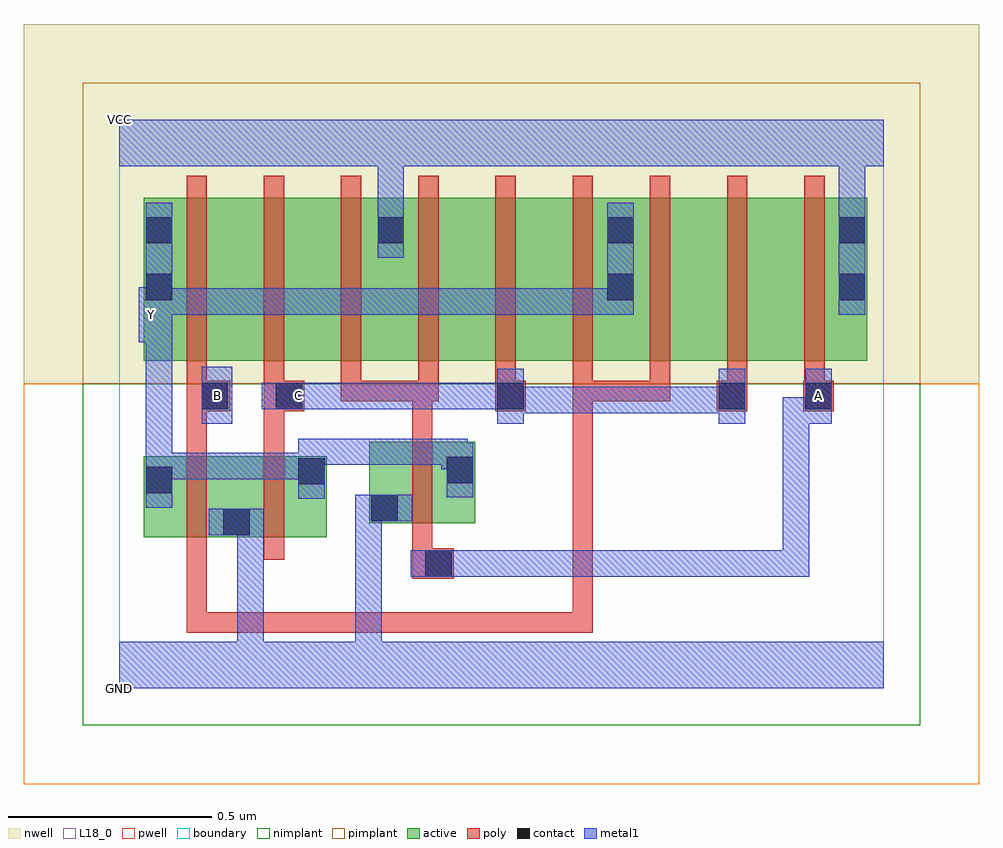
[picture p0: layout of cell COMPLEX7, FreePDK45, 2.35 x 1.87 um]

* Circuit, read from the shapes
.subckt COMPLEX7 A B C GND VCC Y
M1 GND B Y VSUBS nfet w=0.2u l=0.05u
M2 Y C GND VSUBS nfet w=0.2u l=0.05u
M3 Y A GND VSUBS nfet w=0.2u l=0.05u
M4 n1 B Y n2 pfet w=0.4u l=0.05u
M5 n3 C n1 n2 pfet w=0.4u l=0.05u
M6 VCC A n3 n2 pfet w=0.4u l=0.05u
M7 n4 A VCC n2 pfet w=0.4u l=0.05u
M8 n5 C n4 n2 pfet w=0.4u l=0.05u
M9 Y B n5 n2 pfet w=0.4u l=0.05u
M10 n6 B Y n2 pfet w=0.4u l=0.05u
M11 n7 C n6 n2 pfet w=0.4u l=0.05u
M12 VCC A n7 n2 pfet w=0.4u l=0.05u
.ends

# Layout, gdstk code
import gdstk
lib = gdstk.Library(unit=1e-6, precision=1e-09)
def R(c, l, rs):  # rectangles x0, y0, x1, y1
    for r in rs: c.add(gdstk.rectangle(r[:2], r[2:], *l))
def A(c, l, x, y, w, h, nx, ny, dx, dy):  # array of equal rectangles
    R(c, l, [(x+i*dx, y+j*dy, x+i*dx+w, y+j*dy+h) for i in range(nx) for j in range(ny)])
active = (1, 0)
pwell = (2, 0)
nwell = (3, 0)
nimplant = (4, 0)
pimplant = (5, 0)
poly = (9, 0)
contact = (10, 0)
metal1 = (11, 0)
L18_0 = (18, 0)
boundary = (235, 0)

complex7 = lib.new_cell('COMPLEX7')
A(complex7, active, 0.285, 0.807, 0.19, 0.4, 3, 1, 0.57, 0)
R(complex7, active, [(0.06,0.372,0.135,0.572), (0.06,0.372,0.325,0.572), (0.25,0.372,0.51,0.572), (0.25,0.372,0.325,0.447), (0.615,0.407,0.69,0.607), (0.615,0.407,0.875,0.607), (0.8,0.407,0.875,0.607), (0.435,0.495,0.51,0.572), (0.06,0.807,0.285,1.207), (0.06,0.807,0.165,1.2), (0.475,0.807,0.705,1.207), (0.63,0.807,0.705,1.205), (0.63,0.807,0.855,1.207), (1.045,0.807,1.27,1.207), (1.195,0.807,1.425,1.207), (1.195,0.807,1.27,1.2), (1.615,0.807,1.84,1.207), (1.765,0.807,1.84,1.205)])
R(complex7, pwell, [(-0.235,-0.235,2.115,0.75)])
R(complex7, nwell, [(-0.235,0.75,2.115,1.635)])
R(complex7, nimplant, [(-0.09,-0.09,1.97,0.75)])
R(complex7, pimplant, [(-0.09,0.75,1.97,1.49)])
A(complex7, poly, 0.165, 0.707, 0.05, 0.095, 9, 1, 0.19, 0)
A(complex7, poly, 0.165, 0.752, 0.05, 0.51, 9, 1, 0.19, 0)
R(complex7, poly, [(0.165,0.137,0.215,0.187), (0.165,0.137,0.215,0.187), (0.165,0.137,0.215,0.187), (0.165,0.137,0.455,0.187), (0.165,0.137,0.215,0.367), (0.405,0.137,0.455,0.187), (0.405,0.137,0.455,0.187), (0.405,0.137,0.455,0.187), (0.405,0.137,0.587,0.187), (0.537,0.137,0.587,0.187), (0.537,0.137,0.587,0.187), (0.537,0.137,0.587,0.187), (0.537,0.137,0.587,0.187), (0.537,0.137,0.587,0.187), (0.537,0.137,0.842,0.187), (0.792,0.137,0.842,0.187), (0.792,0.137,0.9,0.187), (0.85,0.137,0.9,0.187), (0.85,0.137,1.032,0.187), (0.982,0.137,1.032,0.187), (0.982,0.137,1.032,0.187), (0.982,0.137,1.032,0.187), (0.982,0.137,1.165,0.187), (1.115,0.137,1.165,0.187), (1.115,0.137,1.165,0.187), (1.115,0.137,1.165,0.187), (1.115,0.137,1.165,0.187), (1.115,0.137,1.165,0.187), (1.115,0.137,1.165,0.757), (0.72,0.27,0.822,0.345), (0.72,0.295,0.77,0.402), (0.165,0.317,0.215,0.627), (0.355,0.317,0.405,0.627), (0.72,0.352,0.77,0.662), (0.165,0.577,0.215,0.732), (0.355,0.577,0.405,0.732), (0.72,0.612,0.77,0.757), (0.165,0.682,0.272,0.757), (0.355,0.682,0.455,0.757), (0.925,0.682,1,0.757), (1.47,0.682,1.545,0.757), (1.682,0.682,1.757,0.757), (0.545,0.707,0.595,0.757), (0.545,0.707,0.767,0.757), (0.717,0.707,0.767,0.757), (0.717,0.707,0.767,0.757), (0.717,0.707,0.785,0.757), (1.115,0.707,1.355,0.757), (1.115,0.707,1.165,0.757), (1.115,0.707,1.165,0.757), (1.115,0.707,1.165,0.757), (1.115,0.707,1.165,0.757), (1.115,0.707,1.165,0.757), (1.305,0.707,1.355,0.757)])
A(complex7, contact, 0.385, 0.687, 0.065, 0.065, 3, 1, 0.545, 0)
R(complex7, contact, [(0.752,0.275,0.817,0.34), (0.255,0.377,0.32,0.442), (0.62,0.412,0.685,0.477), (0.065,0.48,0.13,0.545), (0.44,0.502,0.505,0.567), (0.805,0.505,0.87,0.57), (0.202,0.687,0.267,0.752), (1.687,0.687,1.752,0.752), (0.065,0.955,0.13,1.02), (1.2,0.955,1.265,1.02), (1.77,0.955,1.835,1.02), (0.065,1.095,0.13,1.16), (0.635,1.095,0.7,1.16), (1.2,1.095,1.265,1.16), (1.77,1.095,1.835,1.16)])
R(complex7, metal1, [(0,0,1.88,0.115), (0.29,0.05,0.355,0.115), (0.29,0.05,0.355,0.115), (0.29,0.05,0.355,0.442), (0.58,0.05,0.645,0.115), (0.58,0.05,0.645,0.115), (0.58,0.05,0.645,0.477), (0.717,0.275,0.852,0.34), (0.787,0.275,0.857,0.34), (0.792,0.275,0.857,0.34), (0.792,0.275,1.007,0.34), (0.942,0.275,1.007,0.34), (0.942,0.275,1.007,0.34), (0.942,0.275,1.007,0.34), (0.942,0.275,1.007,0.34), (0.942,0.275,1.007,0.34), (0.942,0.275,1.007,0.34), (0.942,0.275,1.007,0.34), (0.942,0.275,1.145,0.34), (1.08,0.275,1.145,0.34), (1.08,0.275,1.282,0.34), (1.217,0.275,1.282,0.34), (1.217,0.275,1.282,0.34), (1.217,0.275,1.282,0.34), (1.217,0.275,1.56,0.34), (1.495,0.275,1.56,0.34), (1.495,0.275,1.56,0.34), (1.495,0.275,1.56,0.34), (1.495,0.275,1.697,0.34), (1.632,0.275,1.697,0.717), (1.632,0.275,1.697,0.34), (0.22,0.377,0.355,0.442), (0.29,0.377,0.355,0.442), (0.29,0.377,0.355,0.442), (0.29,0.377,0.355,0.442), (0.29,0.377,0.355,0.442), (0.58,0.412,0.645,0.477), (0.58,0.412,0.645,0.477), (0.58,0.412,0.645,0.477), (0.58,0.412,0.645,0.477), (0.58,0.412,0.72,0.477), (0.065,0.445,0.13,0.58), (0.44,0.467,0.505,0.615), (0.805,0.47,0.87,0.605), (0.065,0.515,0.277,0.58), (0.065,0.515,0.13,0.917), (0.212,0.515,0.277,0.58), (0.212,0.515,0.277,0.58), (0.212,0.515,0.277,0.58), (0.212,0.515,0.505,0.58), (0.44,0.515,0.505,0.58), (0.44,0.515,0.505,0.58), (0.792,0.54,0.87,0.605), (0.792,0.54,0.857,0.615), (0.44,0.55,0.645,0.615), (0.58,0.55,0.645,0.615), (0.58,0.55,0.645,0.615), (0.58,0.55,0.645,0.615), (0.58,0.55,0.857,0.615), (0.202,0.652,0.277,0.792), (0.93,0.652,0.995,0.787), (1.475,0.652,1.54,0.787), (1.632,0.652,1.752,0.717), (1.632,0.652,1.697,0.717), (1.687,0.652,1.752,0.787), (0.93,0.677,0.995,0.742), (0.93,0.677,0.995,0.742), (0.93,0.677,1.145,0.742), (1.08,0.677,1.145,0.742), (1.08,0.677,1.402,0.742), (1.337,0.677,1.402,0.742), (1.337,0.677,1.402,0.742), (1.337,0.677,1.402,0.742), (1.337,0.677,1.54,0.742), (1.475,0.677,1.54,0.742), (1.475,0.677,1.54,0.742), (0.35,0.687,0.507,0.752), (0.442,0.687,0.507,0.752), (0.442,0.687,0.507,0.752), (0.442,0.687,0.645,0.752), (0.58,0.687,0.645,0.752), (0.58,0.687,0.645,0.752), (0.58,0.687,0.645,0.752), (0.58,0.687,0.782,0.752), (0.717,0.687,0.782,0.752), (0.717,0.687,0.782,0.752), (0.717,0.687,0.782,0.752), (0.717,0.687,0.995,0.752), (0.047,0.852,0.13,0.987), (0.065,0.92,0.13,1.195), (0.065,0.92,0.13,0.985), (0.065,0.92,0.277,0.985), (0.212,0.92,0.277,0.985), (0.212,0.92,0.277,0.985), (0.212,0.92,0.277,0.985), (0.212,0.92,0.507,0.985), (0.442,0.92,0.507,0.985), (0.442,0.92,0.507,0.985), (0.442,0.92,0.507,0.985), (0.442,0.92,0.645,0.985), (0.58,0.92,0.645,0.985), (0.58,0.92,0.645,0.985), (0.58,0.92,0.645,0.985), (0.58,0.92,0.857,0.985), (0.792,0.92,0.857,0.985), (0.792,0.92,0.857,0.985), (0.792,0.92,0.857,0.985), (0.792,0.92,0.995,0.985), (0.93,0.92,0.995,0.985), (0.93,0.92,0.995,0.985), (0.93,0.92,0.995,0.985), (0.93,0.92,1.145,0.985), (1.08,0.92,1.145,0.985), (1.08,0.92,1.265,0.985), (1.2,0.92,1.265,1.195), (1.77,0.92,1.835,1.195), (0.635,1.06,0.7,1.195), (0.635,1.13,0.7,1.35), (1.77,1.13,1.835,1.35), (0,1.285,1.88,1.4)])
R(complex7, L18_0, [(0,0,1.88,0.115), (0.29,0.05,0.355,0.115), (0.29,0.05,0.355,0.115), (0.29,0.05,0.355,0.442), (0.58,0.05,0.645,0.115), (0.58,0.05,0.645,0.115), (0.58,0.05,0.645,0.477), (0.717,0.275,0.852,0.34), (0.787,0.275,0.857,0.34), (0.792,0.275,0.857,0.34), (0.792,0.275,1.007,0.34), (0.942,0.275,1.007,0.34), (0.942,0.275,1.007,0.34), (0.942,0.275,1.007,0.34), (0.942,0.275,1.007,0.34), (0.942,0.275,1.007,0.34), (0.942,0.275,1.007,0.34), (0.942,0.275,1.007,0.34), (0.942,0.275,1.145,0.34), (1.08,0.275,1.145,0.34), (1.08,0.275,1.282,0.34), (1.217,0.275,1.282,0.34), (1.217,0.275,1.282,0.34), (1.217,0.275,1.282,0.34), (1.217,0.275,1.56,0.34), (1.495,0.275,1.56,0.34), (1.495,0.275,1.56,0.34), (1.495,0.275,1.56,0.34), (1.495,0.275,1.697,0.34), (1.632,0.275,1.697,0.34), (1.632,0.275,1.697,0.717), (0.22,0.377,0.355,0.442), (0.29,0.377,0.355,0.442), (0.29,0.377,0.355,0.442), (0.29,0.377,0.355,0.442), (0.29,0.377,0.355,0.442), (0.58,0.412,0.645,0.477), (0.58,0.412,0.645,0.477), (0.58,0.412,0.645,0.477), (0.58,0.412,0.645,0.477), (0.58,0.412,0.72,0.477), (0.065,0.445,0.13,0.58), (0.44,0.467,0.505,0.615), (0.805,0.47,0.87,0.605), (0.065,0.515,0.13,0.917), (0.065,0.515,0.277,0.58), (0.212,0.515,0.277,0.58), (0.212,0.515,0.277,0.58), (0.212,0.515,0.277,0.58), (0.212,0.515,0.505,0.58), (0.44,0.515,0.505,0.58), (0.44,0.515,0.505,0.58), (0.792,0.54,0.857,0.615), (0.792,0.54,0.87,0.605), (0.44,0.55,0.645,0.615), (0.58,0.55,0.645,0.615), (0.58,0.55,0.645,0.615), (0.58,0.55,0.645,0.615), (0.58,0.55,0.857,0.615), (0.202,0.652,0.277,0.792), (0.93,0.652,0.995,0.787), (1.475,0.652,1.54,0.787), (1.632,0.652,1.697,0.717), (1.632,0.652,1.752,0.717), (1.687,0.652,1.752,0.787), (0.93,0.677,0.995,0.742), (0.93,0.677,0.995,0.742), (0.93,0.677,1.145,0.742), (1.08,0.677,1.145,0.742), (1.08,0.677,1.402,0.742), (1.337,0.677,1.402,0.742), (1.337,0.677,1.402,0.742), (1.337,0.677,1.402,0.742), (1.337,0.677,1.54,0.742), (1.475,0.677,1.54,0.742), (1.475,0.677,1.54,0.742), (0.207,0.687,0.272,0.752), (0.35,0.687,0.507,0.752), (0.407,0.687,0.472,0.752), (0.442,0.687,0.507,0.752), (0.442,0.687,0.507,0.752), (0.442,0.687,0.645,0.752), (0.58,0.687,0.645,0.752), (0.58,0.687,0.645,0.752), (0.58,0.687,0.645,0.752), (0.58,0.687,0.782,0.752), (0.717,0.687,0.782,0.752), (0.717,0.687,0.782,0.752), (0.717,0.687,0.782,0.752), (0.717,0.687,0.995,0.752), (1.687,0.687,1.752,0.752), (0.047,0.852,0.13,0.987), (0.047,0.887,0.112,0.952), (0.065,0.92,0.13,1.195), (0.065,0.92,0.13,0.985), (0.065,0.92,0.277,0.985), (0.212,0.92,0.277,0.985), (0.212,0.92,0.277,0.985), (0.212,0.92,0.277,0.985), (0.212,0.92,0.507,0.985), (0.442,0.92,0.507,0.985), (0.442,0.92,0.507,0.985), (0.442,0.92,0.507,0.985), (0.442,0.92,0.645,0.985), (0.58,0.92,0.645,0.985), (0.58,0.92,0.645,0.985), (0.58,0.92,0.645,0.985), (0.58,0.92,0.857,0.985), (0.792,0.92,0.857,0.985), (0.792,0.92,0.857,0.985), (0.792,0.92,0.857,0.985), (0.792,0.92,0.995,0.985), (0.93,0.92,0.995,0.985), (0.93,0.92,0.995,0.985), (0.93,0.92,0.995,0.985), (0.93,0.92,1.145,0.985), (1.08,0.92,1.145,0.985), (1.08,0.92,1.265,0.985), (1.2,0.92,1.265,1.195), (1.77,0.92,1.835,1.195), (0.635,1.06,0.7,1.195), (0.635,1.13,0.7,1.35), (1.77,1.13,1.835,1.35), (0,1.285,1.88,1.4)])
R(complex7, boundary, [(0,0,1.88,1.4)])
complex7.add(gdstk.Label('A', (1.72,0.72), layer=11, texttype=0))
complex7.add(gdstk.Label('B', (0.24,0.72), layer=11, texttype=0))
complex7.add(gdstk.Label('C', (0.44,0.72), layer=11, texttype=0))
complex7.add(gdstk.Label('Y', (0.08,0.92), layer=11, texttype=0))
complex7.add(gdstk.Label('VCC', (0,1.4), layer=11, texttype=0))
complex7.add(gdstk.Label('GND', (0,0), layer=11, texttype=0))

lib.write_gds('COMPLEX7.gds')
